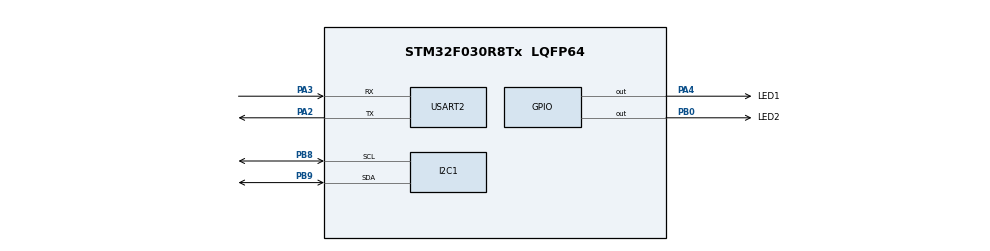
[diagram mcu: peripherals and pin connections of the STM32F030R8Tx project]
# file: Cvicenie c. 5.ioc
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Dma.Request0=USART2_RX
Dma.USART2_RX.0.Direction=DMA_PERIPH_TO_MEMORY
Dma.USART2_RX.0.Instance=DMA1_Channel5
Dma.USART2_RX.0.MemDataAlignment=DMA_MDATAALIGN_BYTE
Dma.USART2_RX.0.MemInc=DMA_MINC_ENABLE
Dma.USART2_RX.0.Mode=DMA_CIRCULAR
Dma.USART2_RX.0.PeriphDataAlignment=DMA_PDATAALIGN_BYTE
Dma.USART2_RX.0.PeriphInc=DMA_PINC_DISABLE
Dma.USART2_RX.0.Priority=DMA_PRIORITY_LOW
Mcu.Family=STM32F0
Mcu.Name=STM32F030R8Tx
Mcu.Package=LQFP64
NVIC.DMA1_Channel4_5_IRQn=true\:0\:0\:false\:false\:true\:false\:true
PA2.Mode=Asynchronous
PA2.Signal=USART2_TX
PA3.Mode=Asynchronous
PA3.Signal=USART2_RX
PA4.GPIO_Label=LED1
PA4.Signal=GPIO_Output
PB0.GPIO_Label=LED2
PB0.Signal=GPIO_Output
PB8.Mode=I2C
PB8.Signal=I2C1_SCL
PB9.Mode=I2C
PB9.Signal=I2C1_SDA
ProjectManager.HeapSize=0x200
ProjectManager.StackSize=0x400
ProjectManager.TargetToolchain=STM32CubeIDE
USART2.VirtualMode-Asynchronous=VM_ASYNC
board=custom

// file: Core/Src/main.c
/* USER CODE BEGIN Header */
/**
  ******************************************************************************
  * @file           : main.c
  * @brief          : Main program body
  ******************************************************************************
  * @attention
  *
  * <h2><center>&copy; Copyright (c) 2020 STMicroelectronics.
  * All rights reserved.</center></h2>
  *
  * This software component is licensed by ST under BSD 3-Clause license,
  * the "License"; You may not use this file except in compliance with the
  * License. You may obtain a copy of the License at:
  *                        opensource.org/licenses/BSD-3-Clause
  *
  ******************************************************************************
  */
/* USER CODE END Header */

#include "main.h"

/* USER CODE BEGIN Includes */

#include <stdio.h>
#include <string.h>
#include <stdlib.h>

/* USER CODE END Includes */

/* USER CODE BEGIN PD */
#define RX_BUFFER_LEN 128
#define uart_rx_write_ptr (RX_BUFFER_LEN - hdma_usart2_rx.Instance->CNDTR)
#define CMD_BUFFER_LEN 256
#define RX_FLUSH_TIME 2000
#define EEPROM_ADDR 0xA0
/* USER CODE END PD */

I2C_HandleTypeDef hi2c1;

UART_HandleTypeDef huart2;
DMA_HandleTypeDef hdma_usart2_rx;

void SystemClock_Config(void);
static void MX_GPIO_Init(void);
static void MX_DMA_Init(void);
static void MX_USART2_UART_Init(void);
static void MX_I2C1_Init(void);

/* USER CODE BEGIN 0 */

int _write(int file, char const *buf, int n)
{
	/* stdout redirection to UART2 */
	HAL_UART_Transmit(&huart2, (uint8_t*)(buf), n, HAL_MAX_DELAY);
	return n;
}

static void uart_process_command(char *cmd)
{
	char *token;
	uint8_t RxBuffer[16];
	uint8_t data;
	uint16_t mem_address;
	//printf("prijato: '%s'\n", cmd);

	do {
		token = strtok(cmd, " ");
		cmd = NULL;
		if (strcasecmp(token, "HELLO") == 0) {
			printf("Komunikace OK\n");

		}
		else if(strcasecmp(token, "LED1")==0){
			token = strtok(NULL, " ");
			if(strcasecmp(token, "ON")==0) HAL_GPIO_WritePin(LED1_GPIO_Port, LED1_Pin, 1);
			if(strcasecmp(token, "OFF")==0) HAL_GPIO_WritePin(LED1_GPIO_Port, LED1_Pin, 0);
		}
		else if(strcasecmp(token, "LED2")==0){
			token = strtok(NULL, " ");
			if(strcasecmp(token, "ON")==0) HAL_GPIO_WritePin(LED2_GPIO_Port, LED2_Pin, 1);
			if(strcasecmp(token, "OFF")==0) HAL_GPIO_WritePin(LED2_GPIO_Port, LED2_Pin, 0);
		}
		else if(strcasecmp(token, "STATUS")==0){
			printf("LED1 = %d\n", HAL_GPIO_ReadPin(LED1_GPIO_Port, LED1_Pin));
			printf("LED2 = %d\n", HAL_GPIO_ReadPin(LED2_GPIO_Port, LED2_Pin));
		}
		else if(strcasecmp(token, "READ")==0){
			token = strtok(NULL, " ");
			mem_address = atoi(token);
			while (HAL_I2C_IsDeviceReady(&hi2c1, EEPROM_ADDR, 300, 1000) == HAL_TIMEOUT) {}
			HAL_I2C_Mem_Read(&hi2c1, EEPROM_ADDR, mem_address, I2C_MEMADD_SIZE_16BIT, RxBuffer, 1, 1000);
			printf("Adresa: 0X%02X = 0X%02X\n",mem_address, RxBuffer[0]);
		}
		else if(strcasecmp(token, "WRITE")==0){
			token = strtok(NULL, " ");
			mem_address = atoi(token);
			token = strtok(NULL, " ");
			data = atoi(token);
			while (HAL_I2C_IsDeviceReady(&hi2c1, EEPROM_ADDR, 300, 1000) == HAL_TIMEOUT) {}
			HAL_I2C_Mem_Write(&hi2c1, EEPROM_ADDR, mem_address, I2C_MEMADD_SIZE_16BIT, &data, 1, 1000);
			printf("OK\n");
		}
		else if(strcasecmp(token, "DUMP")==0){
			while (HAL_I2C_IsDeviceReady(&hi2c1, EEPROM_ADDR, 300, 1000) == HAL_TIMEOUT) {}
			HAL_I2C_Mem_Read(&hi2c1, EEPROM_ADDR, 0, I2C_MEMADD_SIZE_16BIT, RxBuffer, 16, 1000);
			for(int i=0; i<16; i++){
				printf("%02X ", RxBuffer[i]);
				if(i==7) printf("\n");
			}
			printf("\n");
		}
	} while(token!=NULL);

}

static void uart_byte_available(uint8_t c)
{
	static uint16_t cnt;
	char data[CMD_BUFFER_LEN];
	static uint32_t time;
	if((time + RX_FLUSH_TIME)< HAL_GetTick()){
		for(int i=0; i<CMD_BUFFER_LEN; i++){
			data[i] = 0;
		}
		cnt = 0;
	}
	time = HAL_GetTick();
	if (cnt < CMD_BUFFER_LEN) data[cnt++] = c;

	if (c == '\n' || c == '\r') {
		data[cnt - 1] = '\0';
		uart_process_command(data);
		cnt = 0;
	}

}

/* USER CODE END 0 */

int main(void)
{
  /* USER CODE BEGIN 1 */
	//uint8_t c;

  /* USER CODE END 1 */

  /* MCU Configuration--------------------------------------------------------*/

  /* Reset of all peripherals, Initializes the Flash interface and the Systick. */
  HAL_Init();

  /* Configure the system clock */
  SystemClock_Config();

  /* Initialize all configured peripherals */
  MX_GPIO_Init();
  MX_DMA_Init();
  MX_USART2_UART_Init();
  MX_I2C1_Init();
  /* USER CODE BEGIN 2 */
  uint32_t uart_rx_read_ptr = 0;
  uint8_t uart_rx_buf[RX_BUFFER_LEN];

  HAL_UART_Receive_DMA(&huart2, uart_rx_buf, RX_BUFFER_LEN);

  /* USER CODE END 2 */

  /* Infinite loop */
  /* USER CODE BEGIN WHILE */
  while (1)
  {
	  //HAL_UART_Receive(&huart2, &c, 1, HAL_MAX_DELAY);
	  //HAL_UART_Transmit(&huart2, &c, 1, HAL_MAX_DELAY);
	  while (uart_rx_read_ptr != uart_rx_write_ptr) {
		  uint8_t b = uart_rx_buf[uart_rx_read_ptr];
		  if (++uart_rx_read_ptr >= RX_BUFFER_LEN) uart_rx_read_ptr = 0; // increase read pointer
		  if((b!=10 && b<32) || b>126) break;
		  uart_byte_available(b); // process every received byte with the RX state machine

	  }

    /* USER CODE END WHILE */

  }
}

void SystemClock_Config(void)
{
  RCC_OscInitTypeDef RCC_OscInitStruct = {0};
  RCC_ClkInitTypeDef RCC_ClkInitStruct = {0};
  RCC_PeriphCLKInitTypeDef PeriphClkInit = {0};

  /** Initializes the CPU, AHB and APB busses clocks
  */
  RCC_OscInitStruct.OscillatorType = RCC_OSCILLATORTYPE_HSI;
  RCC_OscInitStruct.HSIState = RCC_HSI_ON;
  RCC_OscInitStruct.HSICalibrationValue = RCC_HSICALIBRATION_DEFAULT;
  RCC_OscInitStruct.PLL.PLLState = RCC_PLL_NONE;
  if (HAL_RCC_OscConfig(&RCC_OscInitStruct) != HAL_OK)
  {
    Error_Handler();
  }
  /** Initializes the CPU, AHB and APB busses clocks
  */
  RCC_ClkInitStruct.ClockType = RCC_CLOCKTYPE_HCLK|RCC_CLOCKTYPE_SYSCLK
                              |RCC_CLOCKTYPE_PCLK1;
  RCC_ClkInitStruct.SYSCLKSource = RCC_SYSCLKSOURCE_HSI;
  RCC_ClkInitStruct.AHBCLKDivider = RCC_SYSCLK_DIV1;
  RCC_ClkInitStruct.APB1CLKDivider = RCC_HCLK_DIV1;

  if (HAL_RCC_ClockConfig(&RCC_ClkInitStruct, FLASH_LATENCY_0) != HAL_OK)
  {
    Error_Handler();
  }
  PeriphClkInit.PeriphClockSelection = RCC_PERIPHCLK_I2C1;
  PeriphClkInit.I2c1ClockSelection = RCC_I2C1CLKSOURCE_HSI;
  if (HAL_RCCEx_PeriphCLKConfig(&PeriphClkInit) != HAL_OK)
  {
    Error_Handler();
  }
}

static void MX_I2C1_Init(void)
{

  hi2c1.Instance = I2C1;
  hi2c1.Init.Timing = 0x2000090E;
  hi2c1.Init.OwnAddress1 = 0;
  hi2c1.Init.AddressingMode = I2C_ADDRESSINGMODE_7BIT;
  hi2c1.Init.DualAddressMode = I2C_DUALADDRESS_DISABLE;
  hi2c1.Init.OwnAddress2 = 0;
  hi2c1.Init.OwnAddress2Masks = I2C_OA2_NOMASK;
  hi2c1.Init.GeneralCallMode = I2C_GENERALCALL_DISABLE;
  hi2c1.Init.NoStretchMode = I2C_NOSTRETCH_DISABLE;
  if (HAL_I2C_Init(&hi2c1) != HAL_OK)
  {
    Error_Handler();
  }
  /** Configure Analogue filter
  */
  if (HAL_I2CEx_ConfigAnalogFilter(&hi2c1, I2C_ANALOGFILTER_ENABLE) != HAL_OK)
  {
    Error_Handler();
  }
  /** Configure Digital filter
  */
  if (HAL_I2CEx_ConfigDigitalFilter(&hi2c1, 0) != HAL_OK)
  {
    Error_Handler();
  }

}

static void MX_USART2_UART_Init(void)
{

  huart2.Instance = USART2;
  huart2.Init.BaudRate = 38400;
  huart2.Init.WordLength = UART_WORDLENGTH_8B;
  huart2.Init.StopBits = UART_STOPBITS_1;
  huart2.Init.Parity = UART_PARITY_NONE;
  huart2.Init.Mode = UART_MODE_TX_RX;
  huart2.Init.HwFlowCtl = UART_HWCONTROL_NONE;
  huart2.Init.OverSampling = UART_OVERSAMPLING_16;
  huart2.Init.OneBitSampling = UART_ONE_BIT_SAMPLE_DISABLE;
  huart2.AdvancedInit.AdvFeatureInit = UART_ADVFEATURE_NO_INIT;
  if (HAL_UART_Init(&huart2) != HAL_OK)
  {
    Error_Handler();
  }

}

static void MX_DMA_Init(void)
{

  /* DMA controller clock enable */
  __HAL_RCC_DMA1_CLK_ENABLE();

  /* DMA interrupt init */
  /* DMA1_Channel4_5_IRQn interrupt configuration */
  HAL_NVIC_SetPriority(DMA1_Channel4_5_IRQn, 0, 0);
  HAL_NVIC_EnableIRQ(DMA1_Channel4_5_IRQn);

}

static void MX_GPIO_Init(void)
{
  GPIO_InitTypeDef GPIO_InitStruct = {0};

  /* GPIO Ports Clock Enable */
  __HAL_RCC_GPIOA_CLK_ENABLE();
  __HAL_RCC_GPIOB_CLK_ENABLE();

  /*Configure GPIO pin Output Level */
  HAL_GPIO_WritePin(LED1_GPIO_Port, LED1_Pin, GPIO_PIN_RESET);

  /*Configure GPIO pin Output Level */
  HAL_GPIO_WritePin(LED2_GPIO_Port, LED2_Pin, GPIO_PIN_RESET);

  /*Configure GPIO pin : LED1_Pin */
  GPIO_InitStruct.Pin = LED1_Pin;
  GPIO_InitStruct.Mode = GPIO_MODE_OUTPUT_PP;
  GPIO_InitStruct.Pull = GPIO_NOPULL;
  GPIO_InitStruct.Speed = GPIO_SPEED_FREQ_LOW;
  HAL_GPIO_Init(LED1_GPIO_Port, &GPIO_InitStruct);

  /*Configure GPIO pin : LED2_Pin */
  GPIO_InitStruct.Pin = LED2_Pin;
  GPIO_InitStruct.Mode = GPIO_MODE_OUTPUT_PP;
  GPIO_InitStruct.Pull = GPIO_NOPULL;
  GPIO_InitStruct.Speed = GPIO_SPEED_FREQ_LOW;
  HAL_GPIO_Init(LED2_GPIO_Port, &GPIO_InitStruct);

}

void Error_Handler(void)
{
}

/************************ (C) COPYRIGHT STMicroelectronics *****END OF FILE****/
